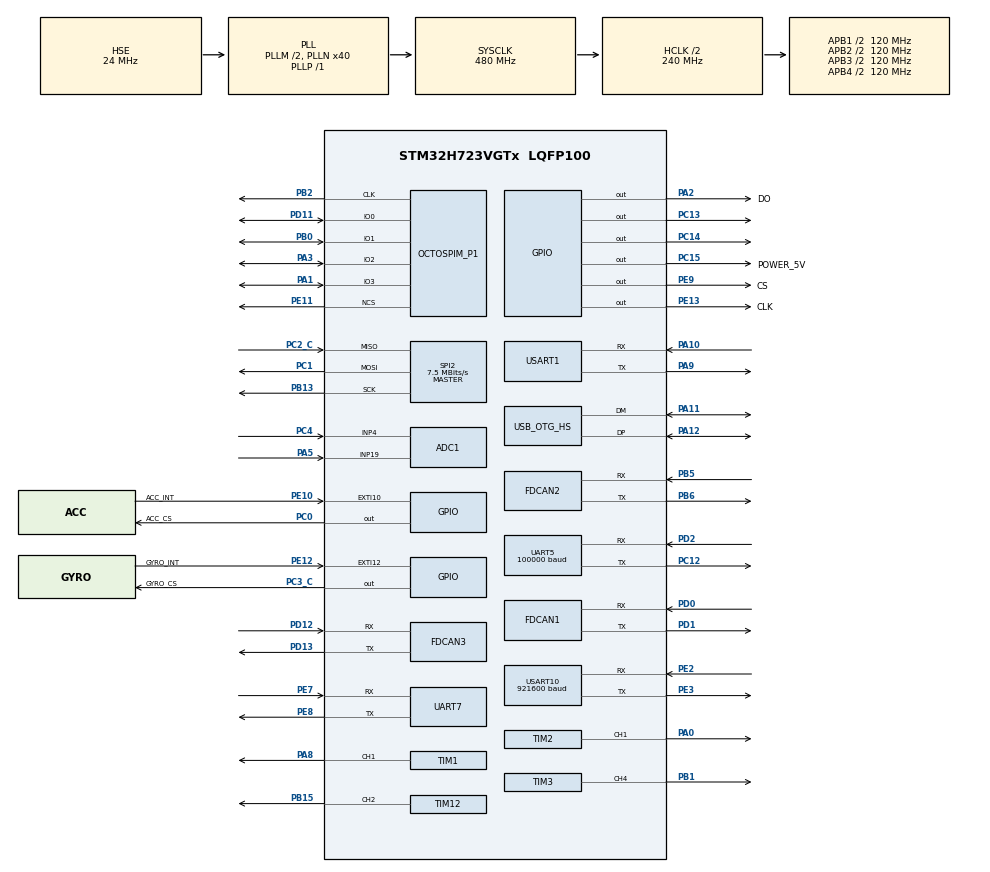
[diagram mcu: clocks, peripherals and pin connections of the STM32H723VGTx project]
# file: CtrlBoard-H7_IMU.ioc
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ADC1.Channel-0\#ChannelRegularConversion=ADC_CHANNEL_4
ADC1.ClockPrescaler=ADC_CLOCK_ASYNC_DIV64
ADC1.ContinuousConvMode=ENABLE
ADC1.ConversionDataManagement=ADC_CONVERSIONDATA_DMA_CIRCULAR
ADC1.NbrOfConversionFlag=1
ADC1.OffsetNumber-0\#ChannelRegularConversion=ADC_OFFSET_NONE
ADC1.OffsetSignedSaturation-0\#ChannelRegularConversion=DISABLE
ADC1.Rank-0\#ChannelRegularConversion=1
ADC1.SamplingTime-0\#ChannelRegularConversion=ADC_SAMPLETIME_1CYCLE_5
ADC1.master=1
ADC3.Channel-0\#ChannelRegularConversion=ADC_CHANNEL_TEMPSENSOR
ADC3.NbrOfConversionFlag=1
ADC3.OffsetNumber-0\#ChannelRegularConversion=ADC_OFFSET_NONE
ADC3.OffsetSign-0\#ChannelRegularConversion=ADC3_OFFSET_SIGN_NEGATIVE
ADC3.Rank-0\#ChannelRegularConversion=1
ADC3.SamplingTime-0\#ChannelRegularConversion=ADC3_SAMPLETIME_640CYCLES_5
Dma.ADC1.4.Direction=DMA_PERIPH_TO_MEMORY
Dma.ADC1.4.EventEnable=DISABLE
Dma.ADC1.4.FIFOMode=DMA_FIFOMODE_DISABLE
Dma.ADC1.4.Instance=DMA1_Stream3
Dma.ADC1.4.MemDataAlignment=DMA_MDATAALIGN_HALFWORD
Dma.ADC1.4.MemInc=DMA_MINC_ENABLE
Dma.ADC1.4.Mode=DMA_CIRCULAR
Dma.ADC1.4.PeriphDataAlignment=DMA_PDATAALIGN_HALFWORD
Dma.ADC1.4.PeriphInc=DMA_PINC_DISABLE
Dma.ADC1.4.Polarity=HAL_DMAMUX_REQ_GEN_RISING
Dma.ADC1.4.Priority=DMA_PRIORITY_LOW
Dma.ADC1.4.RequestNumber=1
Dma.ADC1.4.SignalID=NONE
Dma.ADC1.4.SyncEnable=DISABLE
Dma.ADC1.4.SyncPolarity=HAL_DMAMUX_SYNC_NO_EVENT
Dma.ADC1.4.SyncRequestNumber=1
Dma.ADC1.4.SyncSignalID=NONE
Dma.Request0=SPI2_RX
Dma.Request1=SPI2_TX
Dma.Request2=USART1_RX
Dma.Request3=USART1_TX
Dma.Request4=ADC1
Dma.Request5=UART5_RX
Dma.Request6=USART10_RX
Dma.SPI2_RX.0.Direction=DMA_PERIPH_TO_MEMORY
Dma.SPI2_RX.0.EventEnable=DISABLE
Dma.SPI2_RX.0.FIFOMode=DMA_FIFOMODE_DISABLE
Dma.SPI2_RX.0.Instance=DMA1_Stream0
Dma.SPI2_RX.0.MemDataAlignment=DMA_MDATAALIGN_BYTE
Dma.SPI2_RX.0.MemInc=DMA_MINC_ENABLE
Dma.SPI2_RX.0.Mode=DMA_NORMAL
Dma.SPI2_RX.0.PeriphDataAlignment=DMA_PDATAALIGN_BYTE
Dma.SPI2_RX.0.PeriphInc=DMA_PINC_DISABLE
Dma.SPI2_RX.0.Polarity=HAL_DMAMUX_REQ_GEN_RISING
Dma.SPI2_RX.0.Priority=DMA_PRIORITY_VERY_HIGH
Dma.SPI2_RX.0.RequestNumber=1
Dma.SPI2_RX.0.SignalID=NONE
Dma.SPI2_RX.0.SyncEnable=DISABLE
Dma.SPI2_RX.0.SyncPolarity=HAL_DMAMUX_SYNC_NO_EVENT
Dma.SPI2_RX.0.SyncRequestNumber=1
Dma.SPI2_RX.0.SyncSignalID=NONE
Dma.SPI2_TX.1.Direction=DMA_MEMORY_TO_PERIPH
Dma.SPI2_TX.1.EventEnable=DISABLE
Dma.SPI2_TX.1.FIFOMode=DMA_FIFOMODE_DISABLE
Dma.SPI2_TX.1.Instance=DMA1_Stream1
Dma.SPI2_TX.1.MemDataAlignment=DMA_MDATAALIGN_BYTE
Dma.SPI2_TX.1.MemInc=DMA_MINC_ENABLE
Dma.SPI2_TX.1.Mode=DMA_NORMAL
Dma.SPI2_TX.1.PeriphDataAlignment=DMA_PDATAALIGN_BYTE
Dma.SPI2_TX.1.PeriphInc=DMA_PINC_DISABLE
Dma.SPI2_TX.1.Polarity=HAL_DMAMUX_REQ_GEN_RISING
Dma.SPI2_TX.1.Priority=DMA_PRIORITY_HIGH
Dma.SPI2_TX.1.RequestNumber=1
Dma.SPI2_TX.1.SignalID=NONE
Dma.SPI2_TX.1.SyncEnable=DISABLE
Dma.SPI2_TX.1.SyncPolarity=HAL_DMAMUX_SYNC_NO_EVENT
Dma.SPI2_TX.1.SyncRequestNumber=1
Dma.SPI2_TX.1.SyncSignalID=NONE
Dma.UART5_RX.5.Direction=DMA_PERIPH_TO_MEMORY
Dma.UART5_RX.5.EventEnable=DISABLE
Dma.UART5_RX.5.FIFOMode=DMA_FIFOMODE_DISABLE
Dma.UART5_RX.5.Instance=DMA1_Stream5
Dma.UART5_RX.5.MemDataAlignment=DMA_MDATAALIGN_BYTE
Dma.UART5_RX.5.MemInc=DMA_MINC_ENABLE
Dma.UART5_RX.5.Mode=DMA_NORMAL
Dma.UART5_RX.5.PeriphDataAlignment=DMA_PDATAALIGN_BYTE
Dma.UART5_RX.5.PeriphInc=DMA_PINC_DISABLE
Dma.UART5_RX.5.Polarity=HAL_DMAMUX_REQ_GEN_RISING
Dma.UART5_RX.5.Priority=DMA_PRIORITY_VERY_HIGH
Dma.UART5_RX.5.RequestNumber=1
Dma.UART5_RX.5.SignalID=NONE
Dma.UART5_RX.5.SyncEnable=DISABLE
Dma.UART5_RX.5.SyncPolarity=HAL_DMAMUX_SYNC_NO_EVENT
Dma.UART5_RX.5.SyncRequestNumber=1
Dma.UART5_RX.5.SyncSignalID=NONE
Dma.USART10_RX.6.Direction=DMA_PERIPH_TO_MEMORY
Dma.USART10_RX.6.EventEnable=DISABLE
Dma.USART10_RX.6.FIFOMode=DMA_FIFOMODE_DISABLE
Dma.USART10_RX.6.Instance=DMA1_Stream6
Dma.USART10_RX.6.MemDataAlignment=DMA_MDATAALIGN_BYTE
Dma.USART10_RX.6.MemInc=DMA_MINC_ENABLE
Dma.USART10_RX.6.Mode=DMA_CIRCULAR
Dma.USART10_RX.6.PeriphDataAlignment=DMA_PDATAALIGN_BYTE
Dma.USART10_RX.6.PeriphInc=DMA_PINC_DISABLE
Dma.USART10_RX.6.Polarity=HAL_DMAMUX_REQ_GEN_RISING
Dma.USART10_RX.6.Priority=DMA_PRIORITY_HIGH
Dma.USART10_RX.6.RequestNumber=1
Dma.USART10_RX.6.SignalID=NONE
Dma.USART10_RX.6.SyncEnable=DISABLE
Dma.USART10_RX.6.SyncPolarity=HAL_DMAMUX_SYNC_NO_EVENT
Dma.USART10_RX.6.SyncRequestNumber=1
Dma.USART10_RX.6.SyncSignalID=NONE
Dma.USART1_RX.2.Direction=DMA_PERIPH_TO_MEMORY
Dma.USART1_RX.2.EventEnable=DISABLE
Dma.USART1_RX.2.FIFOMode=DMA_FIFOMODE_DISABLE
Dma.USART1_RX.2.Instance=DMA1_Stream2
Dma.USART1_RX.2.MemDataAlignment=DMA_MDATAALIGN_BYTE
Dma.USART1_RX.2.MemInc=DMA_MINC_ENABLE
Dma.USART1_RX.2.Mode=DMA_CIRCULAR
Dma.USART1_RX.2.PeriphDataAlignment=DMA_PDATAALIGN_BYTE
Dma.USART1_RX.2.PeriphInc=DMA_PINC_DISABLE
Dma.USART1_RX.2.Polarity=HAL_DMAMUX_REQ_GEN_RISING
Dma.USART1_RX.2.Priority=DMA_PRIORITY_LOW
Dma.USART1_RX.2.RequestNumber=1
Dma.USART1_RX.2.SignalID=NONE
Dma.USART1_RX.2.SyncEnable=DISABLE
Dma.USART1_RX.2.SyncPolarity=HAL_DMAMUX_SYNC_NO_EVENT
Dma.USART1_RX.2.SyncRequestNumber=1
Dma.USART1_RX.2.SyncSignalID=NONE
Dma.USART1_TX.3.Direction=DMA_MEMORY_TO_PERIPH
Dma.USART1_TX.3.EventEnable=DISABLE
Dma.USART1_TX.3.FIFOMode=DMA_FIFOMODE_DISABLE
Dma.USART1_TX.3.Instance=DMA1_Stream4
Dma.USART1_TX.3.MemDataAlignment=DMA_MDATAALIGN_BYTE
Dma.USART1_TX.3.MemInc=DMA_MINC_ENABLE
Dma.USART1_TX.3.Mode=DMA_NORMAL
Dma.USART1_TX.3.PeriphDataAlignment=DMA_PDATAALIGN_BYTE
Dma.USART1_TX.3.PeriphInc=DMA_PINC_DISABLE
Dma.USART1_TX.3.Polarity=HAL_DMAMUX_REQ_GEN_RISING
Dma.USART1_TX.3.Priority=DMA_PRIORITY_LOW
Dma.USART1_TX.3.RequestNumber=1
Dma.USART1_TX.3.SignalID=NONE
Dma.USART1_TX.3.SyncEnable=DISABLE
Dma.USART1_TX.3.SyncPolarity=HAL_DMAMUX_SYNC_NO_EVENT
Dma.USART1_TX.3.SyncRequestNumber=1
Dma.USART1_TX.3.SyncSignalID=NONE
FDCAN1.CalculateBaudRateNominal=1000000
FDCAN1.CalculateTimeBitNominal=1000
FDCAN1.CalculateTimeQuantumNominal=40.0
FDCAN1.DataPrescaler=3
FDCAN1.DataSyncJumpWidth=10
FDCAN1.DataTimeSeg1=29
FDCAN1.DataTimeSeg2=10
FDCAN1.ExtFiltersNbr=0
FDCAN1.NominalPrescaler=4
FDCAN1.NominalSyncJumpWidth=10
FDCAN1.NominalTimeSeg1=19
FDCAN1.NominalTimeSeg2=5
FDCAN1.ProtocolException=ENABLE
FDCAN1.RxFifo0ElmtSize=FDCAN_DATA_BYTES_8
FDCAN1.RxFifo0ElmtsNbr=8
FDCAN1.RxFifo1ElmtSize=FDCAN_DATA_BYTES_8
FDCAN1.StdFiltersNbr=1
FDCAN1.TxElmtSize=FDCAN_DATA_BYTES_8
FDCAN1.TxFifoQueueElmtsNbr=8
FDCAN2.CalculateBaudRateNominal=1000000
FDCAN2.CalculateTimeBitNominal=1000
FDCAN2.CalculateTimeQuantumNominal=50.0
FDCAN2.DataPrescaler=5
FDCAN2.DataTimeSeg1=14
FDCAN2.DataTimeSeg2=5
FDCAN2.ExtFiltersNbr=0
FDCAN2.MessageRAMOffset=854
FDCAN2.NominalPrescaler=5
FDCAN2.NominalTimeSeg1=14
FDCAN2.NominalTimeSeg2=5
FDCAN2.RxFifo0ElmtsNbr=8
FDCAN2.RxFifo1ElmtSize=FDCAN_DATA_BYTES_8
FDCAN2.RxFifo1ElmtsNbr=8
FDCAN2.StdFiltersNbr=5
FDCAN2.TxElmtSize=FDCAN_DATA_BYTES_16
FDCAN2.TxFifoQueueElmtsNbr=8
FDCAN3.CalculateBaudRateNominal=1000000
FDCAN3.CalculateTimeBitNominal=1000
FDCAN3.CalculateTimeQuantumNominal=50.0
FDCAN3.DataPrescaler=5
FDCAN3.DataTimeSeg1=14
FDCAN3.DataTimeSeg2=5
FDCAN3.ExtFiltersNbr=5
FDCAN3.MessageRAMOffset=1709
FDCAN3.NominalPrescaler=5
FDCAN3.NominalTimeSeg1=14
FDCAN3.NominalTimeSeg2=5
FDCAN3.RxFifo0ElmtsNbr=8
FDCAN3.RxFifo1ElmtsNbr=8
FDCAN3.StdFiltersNbr=5
FDCAN3.TxFifoQueueElmtsNbr=8
FREERTOS.MEMORY_ALLOCATION=0
FREERTOS.Tasks01=defaultTask,0,128,StartDefaultTask,Default,NULL,Dynamic,NULL,NULL
FREERTOS.configENABLE_FPU=1
FREERTOS.configTOTAL_HEAP_SIZE=30720
Mcu.Family=STM32H7
Mcu.Name=STM32H723VGTx
Mcu.Package=LQFP100
NVIC.DMA1_Stream0_IRQn=true\:6\:0\:true\:false\:true\:true\:false\:true\:true
NVIC.DMA1_Stream1_IRQn=true\:6\:0\:true\:false\:true\:true\:false\:true\:true
NVIC.DMA1_Stream2_IRQn=true\:5\:0\:false\:false\:true\:true\:false\:true\:true
NVIC.DMA1_Stream3_IRQn=true\:5\:0\:false\:false\:true\:true\:false\:true\:true
NVIC.DMA1_Stream4_IRQn=true\:5\:0\:false\:false\:true\:true\:false\:true\:true
NVIC.DMA1_Stream5_IRQn=true\:5\:0\:false\:false\:true\:true\:false\:true\:true
NVIC.DMA1_Stream6_IRQn=true\:5\:0\:false\:false\:true\:true\:false\:true\:true
NVIC.FDCAN1_IT0_IRQn=true\:6\:0\:true\:false\:true\:true\:true\:true\:true
NVIC.FDCAN2_IT0_IRQn=true\:5\:0\:true\:false\:true\:true\:true\:true\:true
NVIC.FDCAN3_IT0_IRQn=true\:5\:0\:false\:false\:true\:true\:true\:true\:true
NVIC.OTG_HS_IRQn=true\:5\:0\:false\:false\:true\:true\:true\:true\:true
NVIC.PriorityGroup=NVIC_PRIORITYGROUP_4
NVIC.SPI2_IRQn=true\:5\:0\:true\:false\:true\:true\:false\:true\:true
NVIC.TIM6_DAC_IRQn=true\:15\:0\:false\:false\:true\:false\:false\:true\:true
NVIC.TimeBase=TIM6_DAC_IRQn
NVIC.TimeBaseIP=TIM6
NVIC.UART5_IRQn=true\:5\:0\:false\:false\:true\:true\:true\:true\:true
NVIC.UART7_IRQn=true\:5\:0\:true\:false\:true\:true\:true\:true\:true
NVIC.USART10_IRQn=true\:5\:0\:false\:false\:true\:true\:true\:true\:true
NVIC.USART1_IRQn=true\:5\:0\:false\:false\:true\:true\:true\:true\:true
OCTOSPI2.ChipSelectHighTime=1
OCTOSPI2.ClockMode=HAL_OSPI_CLOCK_MODE_3
OCTOSPI2.ClockPrescaler=3
OCTOSPI2.DeviceSize=23
OCTOSPI2.DeviceType=SPI_DEVICE_FLASH
OCTOSPI2.FifoThreshold=8
OCTOSPI2.SampleShifting=HAL_OSPI_SAMPLE_SHIFTING_HALFCYCLE
PA0.Signal=S_TIM2_CH1_ETR
PA1.Mode=OCTOSPI2_IOL_Port1L
PA1.Signal=OCTOSPIM_P1_IO3
PA10.Mode=Asynchronous
PA10.Signal=USART1_RX
PA11.Mode=Device_Only_FS
PA11.Signal=USB_OTG_HS_DM
PA12.Mode=Device_Only_FS
PA12.Signal=USB_OTG_HS_DP
PA13(JTMS/SWDIO).Mode=Serial_Wire
PA13(JTMS/SWDIO).Signal=DEBUG_JTMS-SWDIO
PA14(JTCK/SWCLK).Mode=Serial_Wire
PA14(JTCK/SWCLK).Signal=DEBUG_JTCK-SWCLK
PA2.GPIO_Label=DO
PA2.GPIO_PuPd=GPIO_PULLUP
PA2.GPIO_Speed=GPIO_SPEED_FREQ_VERY_HIGH
PA2.PinState=GPIO_PIN_SET
PA2.Signal=GPIO_Output
PA3.Mode=OCTOSPI2_IOL_Port1L
PA3.Signal=OCTOSPIM_P1_IO2
PA5.Signal=ADCx_INP19
PA8.Signal=S_TIM1_CH1
PA9.Mode=Asynchronous
PA9.Signal=USART1_TX
PB0.Mode=OCTOSPI2_IOL_Port1L
PB0.Signal=OCTOSPIM_P1_IO1
PB1.Signal=S_TIM3_CH4
PB13.GPIO_Speed=GPIO_SPEED_FREQ_VERY_HIGH
PB13.Mode=Full_Duplex_Master
PB13.Signal=SPI2_SCK
PB15.Signal=S_TIM12_CH2
PB2.Mode=O2_P1_CLK
PB2.Signal=OCTOSPIM_P1_CLK
PB5.Mode=FDCAN_Activate
PB5.Signal=FDCAN2_RX
PB6.Mode=FDCAN_Activate
PB6.Signal=FDCAN2_TX
PC0.GPIO_Label=ACC_CS
PC0.GPIO_Speed=GPIO_SPEED_FREQ_VERY_HIGH
PC0.PinState=GPIO_PIN_SET
PC0.Signal=GPIO_Output
PC1.GPIO_Speed=GPIO_SPEED_FREQ_VERY_HIGH
PC1.Mode=Full_Duplex_Master
PC1.Signal=SPI2_MOSI
PC12.Mode=Asynchronous
PC12.Signal=UART5_TX
PC13.Signal=GPIO_Output
PC14-OSC32_IN.Signal=GPIO_Output
PC15-OSC32_OUT.GPIO_Label=POWER_5V
PC15-OSC32_OUT.PinState=GPIO_PIN_SET
PC15-OSC32_OUT.Signal=GPIO_Output
PC2_C.GPIO_Speed=GPIO_SPEED_FREQ_VERY_HIGH
PC2_C.Mode=Full_Duplex_Master
PC2_C.Signal=SPI2_MISO
PC3_C.GPIO_Label=GYRO_CS
PC3_C.GPIO_Speed=GPIO_SPEED_FREQ_VERY_HIGH
PC3_C.PinState=GPIO_PIN_SET
PC3_C.Signal=GPIO_Output
PC4.Signal=ADCx_INP4
PD0.Mode=FDCAN_Activate
PD0.Signal=FDCAN1_RX
PD1.Mode=FDCAN_Activate
PD1.Signal=FDCAN1_TX
PD11.Mode=OCTOSPI2_IOL_Port1L
PD11.Signal=OCTOSPIM_P1_IO0
PD12.Mode=FDCAN_Activate
PD12.Signal=FDCAN3_RX
PD13.Mode=FDCAN_Activate
PD13.Signal=FDCAN3_TX
PD2.Mode=Asynchronous
PD2.Signal=UART5_RX
PE10.GPIO_Label=ACC_INT
PE10.Signal=GPXTI10
PE11.Mode=OCTOSPI2_Port1_NCS
PE11.Signal=OCTOSPIM_P1_NCS
PE12.GPIO_Label=GYRO_INT
PE12.Signal=GPXTI12
PE13.GPIO_Label=CLK
PE13.GPIO_PuPd=GPIO_PULLUP
PE13.GPIO_Speed=GPIO_SPEED_FREQ_VERY_HIGH
PE13.PinState=GPIO_PIN_SET
PE13.Signal=GPIO_Output
PE2.Mode=Asynchronous
PE2.Signal=USART10_RX
PE3.Mode=Asynchronous
PE3.Signal=USART10_TX
PE7.Mode=Asynchronous
PE7.Signal=UART7_RX
PE8.Mode=Asynchronous
PE8.Signal=UART7_TX
PE9.GPIO_Label=CS
PE9.GPIO_PuPd=GPIO_PULLUP
PE9.GPIO_Speed=GPIO_SPEED_FREQ_VERY_HIGH
PE9.PinState=GPIO_PIN_SET
PE9.Signal=GPIO_Output
PH0-OSC_IN.Mode=HSE-External-Oscillator
PH0-OSC_IN.Signal=RCC_OSC_IN
PH1-OSC_OUT.Mode=HSE-External-Oscillator
PH1-OSC_OUT.Signal=RCC_OSC_OUT
ProjectManager.HeapSize=0x200
ProjectManager.StackSize=0x800
ProjectManager.TargetToolchain=MDK-ARM V5.27
RCC.ADCFreq_Value=100000000
RCC.APB1Freq_Value=120000000
RCC.APB2Freq_Value=120000000
RCC.APB3Freq_Value=120000000
RCC.APB4Freq_Value=120000000
RCC.CortexFreq_Value=480000000
RCC.D1PPRE=RCC_APB3_DIV2
RCC.D2PPRE1=RCC_APB1_DIV2
RCC.D2PPRE2=RCC_APB2_DIV2
RCC.D3PPRE=RCC_APB4_DIV2
RCC.DIVM1=2
RCC.DIVM2=24
RCC.DIVN1=40
RCC.DIVN2=200
RCC.DIVP1=1
RCC.FDCANCLockSelection=RCC_FDCANCLKSOURCE_PLL2
RCC.HCLKFreq_Value=240000000
RCC.HPRE=RCC_HCLK_DIV2
RCC.HSE_VALUE=24000000
RCC.PLL2FRACN=0
RCC.PLL3FRACN=0
RCC.PLLFRACN=0
RCC.PLLSourceVirtual=RCC_PLLSOURCE_HSE
RCC.SYSCLKFreq_VALUE=480000000
RCC.SYSCLKSource=RCC_SYSCLKSOURCE_PLLCLK
RCC.USBCLockSelection=RCC_USBCLKSOURCE_HSI48
RCC.USBFreq_Value=48000000
SH.ADCx_INP19.0=ADC1_INP19,IN19-Single-Ended
SH.ADCx_INP4.0=ADC1_INP4,IN4-Single-Ended
SH.S_TIM12_CH2.0=TIM12_CH2,PWM Generation2 CH2
SH.S_TIM1_CH1.0=TIM1_CH1,PWM Generation1 CH1
SH.S_TIM2_CH1_ETR.0=TIM2_CH1,PWM Generation1 CH1
SH.S_TIM3_CH4.0=TIM3_CH4,PWM Generation4 CH4
SPI2.BaudRatePrescaler=SPI_BAUDRATEPRESCALER_32
SPI2.CLKPhase=SPI_PHASE_2EDGE
SPI2.CLKPolarity=SPI_POLARITY_HIGH
SPI2.CalculateBaudRate=7.5 MBits/s
SPI2.DataSize=SPI_DATASIZE_8BIT
SPI2.Direction=SPI_DIRECTION_2LINES
SPI2.Mode=SPI_MODE_MASTER
SPI2.VirtualType=VM_MASTER
TIM1.Channel-PWM\ Generation1\ CH1=TIM_CHANNEL_1
TIM12.Channel-PWM\ Generation2\ CH2=TIM_CHANNEL_2
TIM12.Prescaler=167
TIM2.AutoReloadPreload=TIM_AUTORELOAD_PRELOAD_ENABLE
TIM2.Channel-PWM\ Generation1\ CH1=TIM_CHANNEL_1
TIM2.Period=19999
TIM2.Prescaler=239
TIM2.Pulse-PWM\ Generation1\ CH1=1400
TIM3.AutoReloadPreload=TIM_AUTORELOAD_PRELOAD_ENABLE
TIM3.Channel-PWM\ Generation4\ CH4=TIM_CHANNEL_4
TIM3.Period=10000-1
TIM3.Prescaler=24-1
UART5.BaudRate=100000
UART5.Parity=PARITY_EVEN
UART5.StopBits=UART_STOPBITS_2
UART5.WordLength=WORDLENGTH_9B
UART7.Parity=PARITY_NONE
USART1.Parity=PARITY_NONE
USART1.VirtualMode-Asynchronous=VM_ASYNC
USART10.BaudRate=921600
USART10.VirtualMode=VM_ASYNC
USB_DEVICE.CLASS_NAME_HS=CDC
USB_DEVICE.VirtualMode=Cdc
USB_DEVICE.VirtualModeHS=Cdc_HS
USB_OTG_HS.VirtualMode-Device_Only_FS=Device_Only_FS
VP_ADC3_TempSens_Input.Mode=IN-TempSens
VP_CRC_VS_CRC.Mode=CRC_Activate
VP_FREERTOS_VS_CMSIS_V1.Mode=CMSIS_V1
VP_OCTOSPI2_VS_quad.Mode=quad_mode
VP_RNG_VS_RNG.Mode=RNG_Activate
VP_SYS_VS_tim6.Mode=TIM6
VP_TIM1_VS_ClockSourceINT.Mode=Internal
VP_TIM2_VS_ClockSourceINT.Mode=Internal
VP_USB_DEVICE_VS_USB_DEVICE_CDC_HS.Mode=CDC_HS
board=custom

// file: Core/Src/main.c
/* USER CODE BEGIN Header */
/**
  ******************************************************************************
  * @file           : main.c
  * @brief          : Main program body
  ******************************************************************************
  * @attention
  *
  * Copyright (c) 2024 STMicroelectronics.
  * All rights reserved.
  *
  * This software is licensed under terms that can be found in the LICENSE file
  * in the root directory of this software component.
  * If no LICENSE file comes with this software, it is provided AS-IS.
  *
  ******************************************************************************
  */
/* USER CODE END Header */
#include "main.h"
#include "cmsis_os.h"
#include "adc.h"
#include "crc.h"
#include "dma.h"
#include "fdcan.h"
#include "octospi.h"
#include "rng.h"
#include "spi.h"
#include "tim.h"
#include "usart.h"
#include "usb_device.h"
#include "gpio.h"

/* USER CODE BEGIN Includes */
#include "BMI088driver.h"
#include "kalman_filter.h"
#include "mahony_filter.h"
#include "bsp_dwt.h"
#include "BMI088Middleware.h"
#include "can_bsp.h"
#include "bsp_usart.h"
#include "bsp_flash.h"
#include "robot_param.h"
#include "bsp_usb.h"
#include "usbd_cdc_if.h"
#include "usb_device.h"
#include "calibrate_task.h"

#include "usb_common.h"
#include "uproto.h"
#include "usb_cdc_port.h"

/* legacy stm32_usb_test removed */
/* USER CODE END Includes */

void SystemClock_Config(void);
void PeriphCommonClock_Config(void);
void MX_FREERTOS_Init(void);
/* USER CODE BEGIN PFP */
void proto_init_from_main(void);
/* USER CODE END PFP */

/* USER CODE BEGIN 0 */
uproto_context_t proto_ctx;
uint16_t adc_val[2];
//鐢垫睜鐢靛帇
float voltage = 0.0f;

/* USER CODE END 0 */

int main(void)
{

  /* MCU Configuration--------------------------------------------------------*/

  /* Reset of all peripherals, Initializes the Flash interface and the Systick. */
  HAL_Init();

  /* USER CODE BEGIN Init */
//06 01 00 00 00 00 00 00 00 00 00 00 00 00 80 3F
  /* USER CODE END Init */

  /* Configure the system clock */
  SystemClock_Config();

/* Configure the peripherals common clocks */
  PeriphCommonClock_Config();

  /* Initialize all configured peripherals */
  MX_GPIO_Init();
  MX_DMA_Init();
  MX_SPI2_Init();
  MX_FDCAN1_Init();
  MX_FDCAN2_Init();
  MX_TIM3_Init();
  MX_FDCAN3_Init();
  MX_USART1_UART_Init();
  MX_UART5_Init();
  MX_USART10_UART_Init();
  MX_CRC_Init();
  MX_RNG_Init();
  MX_ADC1_Init();
  MX_UART7_Init();
  MX_TIM1_Init();
  MX_TIM2_Init();
  MX_TIM12_Init();
  MX_ADC3_Init();
  MX_OCTOSPI2_Init();
  /* USER CODE BEGIN 2 */

	MX_USB_DEVICE_Init();
	DWT_Init(480);
	if (flash_init() != 0)
	{
		Error_Handler();
	}
	cali_param_init();
    /* BMI088锟斤拷始锟斤�? *///之前锟窖撅拷锟皆斤拷锟劫度和硷拷锟劫度碉拷锟斤拷飘校准锟斤拷锟剿ｏ拷锟斤拷锟斤拷之锟斤拷锟较碉拷筒锟斤拷锟斤�??校准锟斤拷锟斤拷锟接诧拷锟斤拷璞革拷锟斤拷锟斤拷锟斤拷锟斤拷锟斤�??锟斤拷锟斤拷校准锟斤�?
  while (BMI088_init(&hspi2, 0) != BMI088_NO_ERROR)
	{
	  ;
	}
	Power_OUT1_ON;//imu锟斤拷始锟斤拷锟斤拷桑锟斤拷煽氐锟皆达拷�???锟斤拷led锟斤拷锟斤拷
	Power_OUT2_ON;
	Power_5v_ON;

  FDCAN1_Config();//can锟斤拷锟斤拷锟斤拷锟斤拷始锟斤拷
	FDCAN2_Config();
		FDCAN3_Config();
	// 鍚敤涓插彛鎺ユ敹锛堜腑鏂ā寮忥�?
	HAL_UART_Receive_IT(&huart7, usart7_buf, USART_RX_BUF_LENGHT * 2);

	HAL_UARTEx_ReceiveToIdle_DMA(&huart10, usart10_buf, USART10_RX_BUF_LENGHT);

	// 鍚敤涓插彛鎺ユ敹锛圖MA妯�?�紡�??
	HAL_UARTEx_ReceiveToIdle_DMA(&huart5, remote_buff, SBUS_RX_BUF_NUM);
	extern uint8_t gimbal_receive_data[CHASSIS_DATA_LENGTH];
	HAL_UARTEx_ReceiveToIdle_DMA(&huart1, gimbal_receive_data, CHASSIS_DATA_LENGTH);
//	HAL_UARTEx_ReceiveToIdle_DMA(&huart1, usart1_buf[0], USART_RX_BUF_LENGHT * 2);

	HAL_ADCEx_Calibration_Start(&hadc3, ADC_CALIB_OFFSET, ADC_SINGLE_ENDED);
	HAL_ADCEx_Calibration_Start(&hadc1, ADC_CALIB_OFFSET, ADC_SINGLE_ENDED);
	HAL_ADC_Start_DMA(&hadc1, (uint32_t *)adc_val,2);
	HAL_ADC_Start(&hadc3);

	fifo_s_init(&referee_fifo, referee_fifo_buf, REFEREE_FIFO_BUF_LENGTH);
	/* �?? main.c 椤堕儴鎴栧叏�??瀹氫箟涓?涓爣蹇? */

	//鍒濆鍖栦笂浣嶆�?鐨勫崗璁?
	proto_init_from_main();

//	simple_sector6_test();            /* 浠绘剰鍦板潃�?? */
  /* USER CODE END 2 */

  /* Call init function for freertos objects (in freertos.c) */
  MX_FREERTOS_Init();

  /* Start scheduler */
  osKernelStart();

  /* We should never get here as control is now taken by the scheduler */
  /* Infinite loop */
  while (1)
  {

  }
}

void SystemClock_Config(void)
{
  RCC_OscInitTypeDef RCC_OscInitStruct = {0};
  RCC_ClkInitTypeDef RCC_ClkInitStruct = {0};

  /** Supply configuration update enable
  */
  HAL_PWREx_ConfigSupply(PWR_LDO_SUPPLY);

  /** Configure the main internal regulator output voltage
  */
  __HAL_PWR_VOLTAGESCALING_CONFIG(PWR_REGULATOR_VOLTAGE_SCALE0);

  while(!__HAL_PWR_GET_FLAG(PWR_FLAG_VOSRDY)) {}

  /** Initializes the RCC Oscillators according to the specified parameters
  * in the RCC_OscInitTypeDef structure.
  */
  RCC_OscInitStruct.OscillatorType = RCC_OSCILLATORTYPE_HSI48|RCC_OSCILLATORTYPE_HSE;
  RCC_OscInitStruct.HSEState = RCC_HSE_ON;
  RCC_OscInitStruct.HSI48State = RCC_HSI48_ON;
  RCC_OscInitStruct.PLL.PLLState = RCC_PLL_ON;
  RCC_OscInitStruct.PLL.PLLSource = RCC_PLLSOURCE_HSE;
  RCC_OscInitStruct.PLL.PLLM = 2;
  RCC_OscInitStruct.PLL.PLLN = 40;
  RCC_OscInitStruct.PLL.PLLP = 1;
  RCC_OscInitStruct.PLL.PLLQ = 2;
  RCC_OscInitStruct.PLL.PLLR = 2;
  RCC_OscInitStruct.PLL.PLLRGE = RCC_PLL1VCIRANGE_3;
  RCC_OscInitStruct.PLL.PLLVCOSEL = RCC_PLL1VCOWIDE;
  RCC_OscInitStruct.PLL.PLLFRACN = 0;
  if (HAL_RCC_OscConfig(&RCC_OscInitStruct) != HAL_OK)
  {
    Error_Handler();
  }

  /** Initializes the CPU, AHB and APB buses clocks
  */
  RCC_ClkInitStruct.ClockType = RCC_CLOCKTYPE_HCLK|RCC_CLOCKTYPE_SYSCLK
                              |RCC_CLOCKTYPE_PCLK1|RCC_CLOCKTYPE_PCLK2
                              |RCC_CLOCKTYPE_D3PCLK1|RCC_CLOCKTYPE_D1PCLK1;
  RCC_ClkInitStruct.SYSCLKSource = RCC_SYSCLKSOURCE_PLLCLK;
  RCC_ClkInitStruct.SYSCLKDivider = RCC_SYSCLK_DIV1;
  RCC_ClkInitStruct.AHBCLKDivider = RCC_HCLK_DIV2;
  RCC_ClkInitStruct.APB3CLKDivider = RCC_APB3_DIV2;
  RCC_ClkInitStruct.APB1CLKDivider = RCC_APB1_DIV2;
  RCC_ClkInitStruct.APB2CLKDivider = RCC_APB2_DIV2;
  RCC_ClkInitStruct.APB4CLKDivider = RCC_APB4_DIV2;

  if (HAL_RCC_ClockConfig(&RCC_ClkInitStruct, FLASH_LATENCY_3) != HAL_OK)
  {
    Error_Handler();
  }
}

void PeriphCommonClock_Config(void)
{
  RCC_PeriphCLKInitTypeDef PeriphClkInitStruct = {0};

  /** Initializes the peripherals clock
  */
  PeriphClkInitStruct.PeriphClockSelection = RCC_PERIPHCLK_ADC|RCC_PERIPHCLK_FDCAN;
  PeriphClkInitStruct.PLL2.PLL2M = 24;
  PeriphClkInitStruct.PLL2.PLL2N = 200;
  PeriphClkInitStruct.PLL2.PLL2P = 2;
  PeriphClkInitStruct.PLL2.PLL2Q = 2;
  PeriphClkInitStruct.PLL2.PLL2R = 2;
  PeriphClkInitStruct.PLL2.PLL2RGE = RCC_PLL2VCIRANGE_0;
  PeriphClkInitStruct.PLL2.PLL2VCOSEL = RCC_PLL2VCOMEDIUM;
  PeriphClkInitStruct.PLL2.PLL2FRACN = 0;
  PeriphClkInitStruct.FdcanClockSelection = RCC_FDCANCLKSOURCE_PLL2;
  PeriphClkInitStruct.AdcClockSelection = RCC_ADCCLKSOURCE_PLL2;
  if (HAL_RCCEx_PeriphCLKConfig(&PeriphClkInitStruct) != HAL_OK)
  {
    Error_Handler();
  }
}

/* USER CODE BEGIN 4 */

/* flush �?? get_mtu 鍙笉�?�炵幇锛堢疆�?? NULL�?? */
static void proto_port_flush(void *user) { (void)user; }
static uint16_t proto_port_get_mtu(void *user) { (void)user; return 512; }

/* 鏃堕棿鍑芥暟锛堢敤浜庢椂�??/瓒呮椂锛? */
static uint32_t proto_time_now(void *user) { (void)user; return HAL_GetTick(); }

/* 鍒濆鍖栧嚱鏁帮細鍦? main() 鐨勭郴缁�??乁SB 鍒濆鍖栧畬鎴愬悗璋冪敤 */
void proto_init_from_main(void)
{
    uproto_port_ops_t port_ops;
    usb_cdc_port_get_ops(&port_ops);

    uproto_time_ops_t time_ops = {
        .now_ms = proto_time_now,
        .user = NULL
    };

    uproto_config_t cfg;
    /* 浣跨敤榛樿閰嶇疆鎴栬嚜琛岃缃細
       娉ㄦ剰锛氬鏋滀笉鎯宠嚜鍔ㄦ彙鎵嬪彲�?? handshake_timeout_ms=0 */
    cfg.handshake_timeout_ms = 0;
    cfg.heartbeat_interval_ms = 0;
    cfg.default_timeout_ms = 3000;
    cfg.default_retries = 3;
    cfg.enable_auto_handshake = false;
    cfg.event_cb = NULL;
    cfg.event_user = NULL;

    /* 璋冪敤鍒濆�?? */
    uproto_init(&proto_ctx, &port_ops, &time_ops, &cfg);

    /* 娉ㄥ唽浣犻渶瑕佺殑娑堟伅澶勭悊鍣紙�?轰緥锛夛�?
       uproto_register_handler(&proto_ctx, MY_MSG_TYPE, my_handler, my_userptr);
    */
}

/* USER CODE END 4 */

void HAL_TIM_PeriodElapsedCallback(TIM_HandleTypeDef *htim)
{
  if (htim->Instance == TIM6) {
    HAL_IncTick();
  }
}

void Error_Handler(void)
{
  __disable_irq();
  while (1)
  {
  }
}

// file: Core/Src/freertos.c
/* USER CODE BEGIN Header */
/**
  ******************************************************************************
  * File Name          : freertos.c
  * Description        : Code for freertos applications
  ******************************************************************************
  * @attention
  *
  * Copyright (c) 2024 STMicroelectronics.
  * All rights reserved.
  *
  * This software is licensed under terms that can be found in the LICENSE file
  * in the root directory of this software component.
  * If no LICENSE file comes with this software, it is provided AS-IS.
  *
  ******************************************************************************
  */
/* USER CODE END Header */

#include "FreeRTOS.h"
#include "task.h"
#include "main.h"
#include "cmsis_os.h"

/* USER CODE BEGIN Includes */
#include "bsp_usart.h"
#include "can_bsp.h"
#include "usart.h"
#include "ins_task.h"
#include "remote_control.h"
#include "chassis_power_control.h"
#include "calibrate_task.h"
#include "message_task.h"
#include "referee_usart_task.h"
#include "robot_param.h"
#include "bsp_usb.h"
#include "observer.h"
#include "UI.h"
#include "auto_aim.h"
#include "comm_app.h"
#include "light_task.h"
#include "task_profiler_sampling.h"
#include "robot_param.h"
/* USER CODE END Includes */

/* USER CODE BEGIN PTD */
osThreadId calibrate_tast_handle;
osThreadId chassisTaskHandle;
osThreadId detect_handle;
osThreadId gimbalTaskHandle;
osThreadId imuTaskHandle;
osThreadId led_RGB_flow_handle;
osThreadId oled_handle;
osThreadId referee_usart_task_handle;
osThreadId usb_task_handle;
osThreadId battery_voltage_handle;
osThreadId servo_task_handle;
osThreadId message_task_handle;
osThreadId idle_task_handle;
osThreadId testHandle;
osThreadId observer_Handle;
osThreadId UI_Handle;
osThreadId auto_aim_Handle;
osThreadId comm_app_handle;

/* USER CODE END PTD */

osThreadId defaultTaskHandle;

/* USER CODE BEGIN FunctionPrototypes */

extern void MX_USB_DEVICE_Init(void);
void MX_FREERTOS_Init(void); /* (MISRA C 2004 rule 8.1) */

/* GetIdleTaskMemory prototype (linked to static allocation support) */
void vApplicationGetIdleTaskMemory( StaticTask_t **ppxIdleTaskTCBBuffer, StackType_t **ppxIdleTaskStackBuffer, uint32_t *pulIdleTaskStackSize );

/* GetTimerTaskMemory prototype (linked to static allocation support) */
void vApplicationGetTimerTaskMemory( StaticTask_t **ppxTimerTaskTCBBuffer, StackType_t **ppxTimerTaskStackBuffer, uint32_t *pulTimerTaskStackSize );

static StaticTask_t xIdleTaskTCBBuffer;
static StackType_t xIdleStack[configMINIMAL_STACK_SIZE];

void vApplicationGetIdleTaskMemory( StaticTask_t **ppxIdleTaskTCBBuffer, StackType_t **ppxIdleTaskStackBuffer, uint32_t *pulIdleTaskStackSize )
{
  *ppxIdleTaskTCBBuffer = &xIdleTaskTCBBuffer;
  *ppxIdleTaskStackBuffer = &xIdleStack[0];
  *pulIdleTaskStackSize = configMINIMAL_STACK_SIZE;
  /* place for user code */
}
static StaticTask_t xTimerTaskTCBBuffer;
static StackType_t xTimerStack[configTIMER_TASK_STACK_DEPTH];
void vApplicationGetTimerTaskMemory( StaticTask_t **ppxTimerTaskTCBBuffer, StackType_t **ppxTimerTaskStackBuffer, uint32_t *pulTimerTaskStackSize )
{
  *ppxTimerTaskTCBBuffer = &xTimerTaskTCBBuffer;
  *ppxTimerTaskStackBuffer = &xTimerStack[0];
  *pulTimerTaskStackSize = configTIMER_TASK_STACK_DEPTH;
  /* place for user code */
}
/* USER CODE END FunctionPrototypes */

void StartDefaultTask(void const * argument);

extern void MX_USB_DEVICE_Init(void);
void MX_FREERTOS_Init(void); /* (MISRA C 2004 rule 8.1) */

void MX_FREERTOS_Init(void) {

  /* Create the thread(s) */
  /* definition and creation of defaultTask */
  osThreadDef(defaultTask, StartDefaultTask, osPriorityNormal, 0, 128);
  defaultTaskHandle = osThreadCreate(osThread(defaultTask), NULL);

  /* USER CODE BEGIN RTOS_THREADS */
  /* add threads, ... */

    #if ROBOT_BOARD == chassis_board

    osThreadDef(ChassisTask, chassis_task, osPriorityHigh , 0, 1024);
    chassisTaskHandle = osThreadCreate(osThread(ChassisTask), NULL);

    osThreadDef(REFEREE, referee_usart_task, osPriorityNormal, 0, 128);
    referee_usart_task_handle = osThreadCreate(osThread(REFEREE), NULL);

//		osThreadDef(OBRERVER, Observe_task, osPriorityNormal, 0, 128);
//    observer_Handle = osThreadCreate(osThread(OBRERVER), NULL);

		osThreadDef(UI, UI_task, osPriorityNormal, 0, 128);
    observer_Handle = osThreadCreate(osThread(UI), NULL);

    #else

    osThreadDef(gimbalTask, gimbal_task, osPriorityHigh, 0, 1024);
    gimbalTaskHandle = osThreadCreate(osThread(gimbalTask), NULL);

		osThreadDef(cali, calibrate_task, osPriorityNormal, 0, 512);
    calibrate_tast_handle = osThreadCreate(osThread(cali), NULL);

		//自瞄进程预留
		osThreadDef(auto_aim, auto_aim_task, osPriorityNormal, 0, 256);
    auto_aim_Handle = osThreadCreate(osThread(auto_aim), NULL);

		 osThreadDef(COMM_APP, comm_app_task, osPriorityBelowNormal, 0, 640);
		comm_app_handle = osThreadCreate(osThread(COMM_APP), NULL);

		#endif

		osThreadDef(message, message_task, osPriorityNormal, 0, 128);
		message_task_handle = osThreadCreate(osThread(message), NULL);

		LightTask_Init();

    osThreadDef(imuTask, INS_task, osPriorityRealtime, 0, 1024);
    imuTaskHandle = osThreadCreate(osThread(imuTask), NULL);

  /* USER CODE BEGIN RTOS_THREADS */
  /* add threads, ... */
  /* Communication hello world demo */

  /* USER CODE END RTOS_THREADS */

}

void StartDefaultTask(void const * argument)
{
  /* init code for USB_DEVICE */
  MX_USB_DEVICE_Init();
  for(;;)
  {
		osDelay(1);
  }
}
